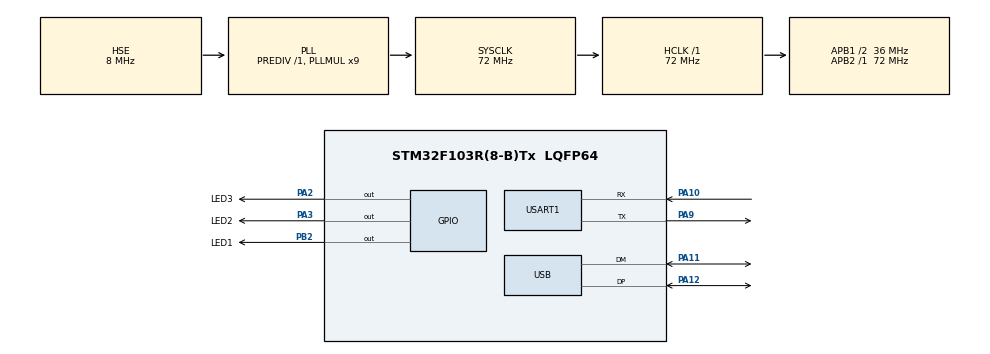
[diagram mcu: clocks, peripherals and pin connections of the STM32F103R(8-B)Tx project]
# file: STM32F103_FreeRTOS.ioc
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FREERTOS.Queues01=myQueue01,16,uint16_t,0,Dynamic,NULL,NULL;myQueue02,16,uint16_t,0,Dynamic,NULL,NULL
FREERTOS.Tasks01=defaultTask,24,128,StartDefaultTask,Default,NULL,Dynamic,NULL,NULL;myTask02_low,8,128,StartTask02,Default,NULL,Dynamic,NULL,NULL;myTask03_high,40,128,StartTask03,Default,NULL,Dynamic,NULL,NULL;myTask04_realti,48,256,StartTask04,Default,NULL,Dynamic,NULL,NULL
FREERTOS.configTICK_RATE_HZ=100
FREERTOS.configTOTAL_HEAP_SIZE=4096
FREERTOS.configUSE_TICKLESS_IDLE=1
Mcu.Family=STM32F1
Mcu.Name=STM32F103R(8-B)Tx
Mcu.Package=LQFP64
NVIC.PriorityGroup=NVIC_PRIORITYGROUP_4
NVIC.TIM1_UP_IRQn=true\:0\:0\:false\:false\:true\:false\:false\:true
NVIC.TimeBase=TIM1_UP_IRQn
NVIC.TimeBaseIP=TIM1
NVIC.USART1_IRQn=true\:5\:0\:false\:false\:true\:true\:true\:true
PA10.Mode=Asynchronous
PA10.Signal=USART1_RX
PA11.Mode=Device
PA11.Signal=USB_DM
PA12.Mode=Device
PA12.Signal=USB_DP
PA2.GPIO_Label=LED3
PA2.PinState=GPIO_PIN_SET
PA2.Signal=GPIO_Output
PA3.GPIO_Label=LED2
PA3.PinState=GPIO_PIN_SET
PA3.Signal=GPIO_Output
PA9.Mode=Asynchronous
PA9.Signal=USART1_TX
PB2.GPIO_Label=LED1
PB2.PinState=GPIO_PIN_SET
PB2.Signal=GPIO_Output
PD0-OSC_IN.Mode=HSE-External-Oscillator
PD0-OSC_IN.Signal=RCC_OSC_IN
PD1-OSC_OUT.Mode=HSE-External-Oscillator
PD1-OSC_OUT.Signal=RCC_OSC_OUT
ProjectManager.HeapSize=0x200
ProjectManager.StackSize=0x400
ProjectManager.TargetToolchain=Makefile
RCC.AHBFreq_Value=72000000
RCC.APB1CLKDivider=RCC_HCLK_DIV2
RCC.APB1Freq_Value=36000000
RCC.APB1TimFreq_Value=72000000
RCC.APB2Freq_Value=72000000
RCC.APB2TimFreq_Value=72000000
RCC.HCLKFreq_Value=72000000
RCC.PLLMUL=RCC_PLL_MUL9
RCC.PLLSourceVirtual=RCC_PLLSOURCE_HSE
RCC.SYSCLKFreq_VALUE=72000000
RCC.SYSCLKSource=RCC_SYSCLKSOURCE_PLLCLK
RCC.USBFreq_Value=48000000
RCC.USBPrescaler=RCC_USBCLKSOURCE_PLL_DIV1_5
USART1.VirtualMode=VM_ASYNC
VP_FREERTOS_VS_CMSIS_V2.Mode=CMSIS_V2
VP_SYS_VS_ND.Mode=No_Debug
VP_SYS_VS_tim1.Mode=TIM1
board=custom

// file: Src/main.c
/* USER CODE BEGIN Header */
/**
  ******************************************************************************
  * @file           : main.c
  * @brief          : Main program body
  ******************************************************************************
  * @attention
  *
  * <h2><center>&copy; Copyright (c) 2020 STMicroelectronics.
  * All rights reserved.</center></h2>
  *
  * This software component is licensed by ST under Ultimate Liberty license
  * SLA0044, the "License"; You may not use this file except in compliance with
  * the License. You may obtain a copy of the License at:
  *                             www.st.com/SLA0044
  *
  ******************************************************************************
  */
/* USER CODE END Header */

#include "main.h"
#include "cmsis_os.h"

/* USER CODE BEGIN Includes */
#include <stdio.h>
#include <stdlib.h>
#include "task.h"
#include "portmacro.h"
#include "ili9320.h"
#include "uart.h"
/* USER CODE END Includes */

UART_HandleTypeDef huart1;

PCD_HandleTypeDef hpcd_USB_FS;

osThreadId_t defaultTaskHandle;
osThreadId_t myTask02_lowHandle;
osThreadId_t myTask03_highHandle;
osThreadId_t myTask04_realtiHandle;
osMessageQueueId_t myQueue01Handle;
osMessageQueueId_t myQueue02Handle;

void SystemClock_Config(void);
static void MX_GPIO_Init(void);
static void MX_USART1_UART_Init(void);
static void MX_USB_PCD_Init(void);
void StartDefaultTask(void *argument);
void StartTask02(void *argument);
void StartTask03(void *argument);
void StartTask04(void *argument);

/* USER CODE BEGIN PFP */
int _write(int fd, char *ptr, int len)
{
    int i = 0;
    /*
     * write "len" of char from "ptr" to file id "fd"
     * Return number of char written.
     *
    * Only work for STDOUT, STDIN, and STDERR
     */
    if (fd > 2) { return -1; }

    HAL_UART_Transmit(&huart1, *ptr, 1000, 1000);
    //while (*ptr && (i < len))
    {
      // USART_SendData(USART1, *ptr);
      // while (USART_GetFlagStatus(USART1, USART_FLAG_TC)  == RESET) {}
      //     i++;
      //     ptr++;
      //
    }
    return i;
}
/* USER CODE END PFP */

int main(void)
{

  /* MCU Configuration--------------------------------------------------------*/

  /* Reset of all peripherals, Initializes the Flash interface and the Systick. */
  HAL_Init();

  /* Configure the system clock */
  SystemClock_Config();

  /* Initialize all configured peripherals */
  MX_GPIO_Init();
  MX_USART1_UART_Init();
  MX_USB_PCD_Init();
  /* USER CODE BEGIN 2 */
  printf("Printf test.");

  ili9320_Initializtion();
  // LED1_GPIO_Port->BRR = LED1_Pin;     // Clear
  // for (uint16_t i = 0; i < 5000; i++) ;
  // LED1_GPIO_Port->BSRR = LED1_Pin;    // set
  // for (uint16_t i = 0; i < 5000; i++) ;
  // LED1_GPIO_Port->BRR = LED1_Pin;     // Clear
	ili9320_Clear(Blue);        // ~ 50 ms
  // LED1_GPIO_Port->BSRR = LED1_Pin;    // set
  // for (uint16_t i = 0; i < 5000; i++) ;
  // LED1_GPIO_Port->BRR = LED1_Pin;     // Clear
  // for (uint16_t i = 0; i < 5000; i++) ;
  // LED1_GPIO_Port->BSRR = LED1_Pin;    // set

	ili9320_ShowString_16x24(10, 10, 320, 240, "ili9320 LCD DISPLAY 16x24.");
	ili9320_ShowString_8x16(10, 80, 320, 240, "ili9320 LCD DISPLAY 8 x 16.");
	ili9320_ShowString_16x24(20, 120, 320, 240, "Loop-");
  /* USER CODE END 2 */

  osKernelInitialize();

  /* Create the queue(s) */
  /* definition and creation of myQueue01 */
  const osMessageQueueAttr_t myQueue01_attributes = {
    .name = "myQueue01"
  };
  myQueue01Handle = osMessageQueueNew (16, sizeof(uint16_t), &myQueue01_attributes);

  /* definition and creation of myQueue02 */
  const osMessageQueueAttr_t myQueue02_attributes = {
    .name = "myQueue02"
  };
  myQueue02Handle = osMessageQueueNew (16, sizeof(uint16_t), &myQueue02_attributes);

  /* Create the thread(s) */
  /* definition and creation of defaultTask */
  const osThreadAttr_t defaultTask_attributes = {
    .name = "defaultTask",
    .priority = (osPriority_t) osPriorityNormal,
    .stack_size = 128
  };
  defaultTaskHandle = osThreadNew(StartDefaultTask, NULL, &defaultTask_attributes);

  /* definition and creation of myTask02_low */
  const osThreadAttr_t myTask02_low_attributes = {
    .name = "myTask02_low",
    .priority = (osPriority_t) osPriorityLow,
    .stack_size = 128
  };
  myTask02_lowHandle = osThreadNew(StartTask02, NULL, &myTask02_low_attributes);

  /* definition and creation of myTask03_high */
  const osThreadAttr_t myTask03_high_attributes = {
    .name = "myTask03_high",
    .priority = (osPriority_t) osPriorityHigh,
    .stack_size = 128
  };
  myTask03_highHandle = osThreadNew(StartTask03, NULL, &myTask03_high_attributes);

  /* definition and creation of myTask04_realti */
  const osThreadAttr_t myTask04_realti_attributes = {
    .name = "myTask04_realti",
    .priority = (osPriority_t) osPriorityRealtime,
    .stack_size = 256
  };
  myTask04_realtiHandle = osThreadNew(StartTask04, NULL, &myTask04_realti_attributes);

  /* Start scheduler */
  osKernelStart();

  /* We should never get here as control is now taken by the scheduler */

  /* Infinite loop */
  while (1)
  {

  }
}

void SystemClock_Config(void)
{
  RCC_OscInitTypeDef RCC_OscInitStruct = {0};
  RCC_ClkInitTypeDef RCC_ClkInitStruct = {0};
  RCC_PeriphCLKInitTypeDef PeriphClkInit = {0};

  /** Initializes the CPU, AHB and APB busses clocks
  */
  RCC_OscInitStruct.OscillatorType = RCC_OSCILLATORTYPE_HSE;
  RCC_OscInitStruct.HSEState = RCC_HSE_ON;
  RCC_OscInitStruct.HSEPredivValue = RCC_HSE_PREDIV_DIV1;
  RCC_OscInitStruct.HSIState = RCC_HSI_ON;
  RCC_OscInitStruct.PLL.PLLState = RCC_PLL_ON;
  RCC_OscInitStruct.PLL.PLLSource = RCC_PLLSOURCE_HSE;
  RCC_OscInitStruct.PLL.PLLMUL = RCC_PLL_MUL9;
  if (HAL_RCC_OscConfig(&RCC_OscInitStruct) != HAL_OK)
  {
    Error_Handler();
  }
  /** Initializes the CPU, AHB and APB busses clocks
  */
  RCC_ClkInitStruct.ClockType = RCC_CLOCKTYPE_HCLK|RCC_CLOCKTYPE_SYSCLK
                              |RCC_CLOCKTYPE_PCLK1|RCC_CLOCKTYPE_PCLK2;
  RCC_ClkInitStruct.SYSCLKSource = RCC_SYSCLKSOURCE_PLLCLK;
  RCC_ClkInitStruct.AHBCLKDivider = RCC_SYSCLK_DIV1;
  RCC_ClkInitStruct.APB1CLKDivider = RCC_HCLK_DIV2;
  RCC_ClkInitStruct.APB2CLKDivider = RCC_HCLK_DIV1;

  if (HAL_RCC_ClockConfig(&RCC_ClkInitStruct, FLASH_LATENCY_2) != HAL_OK)
  {
    Error_Handler();
  }
  PeriphClkInit.PeriphClockSelection = RCC_PERIPHCLK_USB;
  PeriphClkInit.UsbClockSelection = RCC_USBCLKSOURCE_PLL_DIV1_5;
  if (HAL_RCCEx_PeriphCLKConfig(&PeriphClkInit) != HAL_OK)
  {
    Error_Handler();
  }
}

static void MX_USART1_UART_Init(void)
{

  huart1.Instance = USART1;
  huart1.Init.BaudRate = 115200;
  huart1.Init.WordLength = UART_WORDLENGTH_8B;
  huart1.Init.StopBits = UART_STOPBITS_1;
  huart1.Init.Parity = UART_PARITY_NONE;
  huart1.Init.Mode = UART_MODE_TX_RX;
  huart1.Init.HwFlowCtl = UART_HWCONTROL_NONE;
  huart1.Init.OverSampling = UART_OVERSAMPLING_16;
  if (HAL_UART_Init(&huart1) != HAL_OK)
  {
    Error_Handler();
  }
  /* USER CODE BEGIN USART1_Init 2 */
  HAL_UART_Receive_IT(&huart1, (uint8_t *)aRxBuffer, RXBUFFERSIZE); //
  /* USER CODE END USART1_Init 2 */

}

static void MX_USB_PCD_Init(void)
{

  hpcd_USB_FS.Instance = USB;
  hpcd_USB_FS.Init.dev_endpoints = 8;
  hpcd_USB_FS.Init.speed = PCD_SPEED_FULL;
  hpcd_USB_FS.Init.low_power_enable = DISABLE;
  hpcd_USB_FS.Init.lpm_enable = DISABLE;
  hpcd_USB_FS.Init.battery_charging_enable = DISABLE;
  if (HAL_PCD_Init(&hpcd_USB_FS) != HAL_OK)
  {
    Error_Handler();
  }

}

static void MX_GPIO_Init(void)
{
  GPIO_InitTypeDef GPIO_InitStruct = {0};

  /* GPIO Ports Clock Enable */
  __HAL_RCC_GPIOD_CLK_ENABLE();
  __HAL_RCC_GPIOA_CLK_ENABLE();
  __HAL_RCC_GPIOB_CLK_ENABLE();

  /*Configure GPIO pin Output Level */
  HAL_GPIO_WritePin(GPIOA, LED3_Pin|LED2_Pin, GPIO_PIN_SET);

  /*Configure GPIO pin Output Level */
  HAL_GPIO_WritePin(LED1_GPIO_Port, LED1_Pin, GPIO_PIN_SET);

  /*Configure GPIO pins : LED3_Pin LED2_Pin */
  GPIO_InitStruct.Pin = LED3_Pin|LED2_Pin;
  GPIO_InitStruct.Mode = GPIO_MODE_OUTPUT_PP;
  GPIO_InitStruct.Pull = GPIO_NOPULL;
  GPIO_InitStruct.Speed = GPIO_SPEED_FREQ_LOW;
  HAL_GPIO_Init(GPIOA, &GPIO_InitStruct);

  /*Configure GPIO pin : LED1_Pin */
  GPIO_InitStruct.Pin = LED1_Pin;
  GPIO_InitStruct.Mode = GPIO_MODE_OUTPUT_PP;
  GPIO_InitStruct.Pull = GPIO_NOPULL;
  GPIO_InitStruct.Speed = GPIO_SPEED_FREQ_LOW;
  HAL_GPIO_Init(LED1_GPIO_Port, &GPIO_InitStruct);

}

void StartDefaultTask(void *argument)
{
  /* USER CODE BEGIN 5 */
  /* Infinite loop */
  for(;;)
  {
    //osDelay(1);
    ulTaskNotifyTake(pdTRUE, portMAX_DELAY);
    HAL_UART_Transmit(&huart1, "Task01-default is running ...\r\n", 31, 1000);
    HAL_GPIO_TogglePin(LED1_GPIO_Port, LED1_Pin);
    //osDelay(1);
    xTaskNotifyGive(myTask02_lowHandle);
  }
  /* USER CODE END 5 */
}

void StartTask02(void *argument)
{
  /* USER CODE BEGIN StartTask02 */
  /* Infinite loop */
  for(;;)
  {
    //osDelay(1);
    ulTaskNotifyTake(pdTRUE, portMAX_DELAY);
    HAL_UART_Transmit(&huart1, "Task02 is running ...\r\n", 23, 1000);
    HAL_GPIO_TogglePin(LED2_GPIO_Port, LED2_Pin);
    //HAL_GPIO_WritePin(LED2_GPIO_Port, LED2_Pin, GPIO_PIN_SET);
    //osDelay(110);
    //HAL_GPIO_WritePin(LED2_GPIO_Port, LED2_Pin, GPIO_PIN_RESET);
    //osDelay(1);
    HAL_UART_Transmit(&huart1, "Task02 give notify to Task03 ...\r\n", 55, 1000);
    xTaskNotifyGive(myTask03_highHandle);

  }
  /* USER CODE END StartTask02 */
}

void StartTask03(void *argument)
{
  /* USER CODE BEGIN StartTask03 */
  /* Infinite loop */
  for(;;)
  {
    //osDelay(1);
    ulTaskNotifyTake(pdTRUE, portMAX_DELAY);
    HAL_UART_Transmit(&huart1, "Task03 is running ...\r\n", 23, 1000);
    HAL_GPIO_TogglePin(LED3_GPIO_Port, LED3_Pin);
    //osDelay(1);
    HAL_UART_Transmit(&huart1, "Task03 give notify to Task04 .\r\n", 55, 1000);
    xTaskNotifyGive(myTask04_realtiHandle);
  }
  /* USER CODE END StartTask03 */
}

void StartTask04(void *argument)
{
  /* USER CODE BEGIN StartTask04 */
  //static uint8_t *pdata = "HAL_UART_Transmit";
  uint16_t i = 50000;
  //uint16_t xpos = 0;
  char loop[] = "000.00\0";
  //uint8_t tickDelay = 1;
  //char delay[] = "00\r\n";

  /* Infinite loop */
  for(;;)
  {
    osDelay(1);

    if(USART_RX_STA & 0x8000)
		{
			uint16_t len = USART_RX_STA & 0x3fff; // Rx len
			HAL_UART_Transmit(&huart1, "\r\n您发送的消息为: \r\n", 200, 1000);
			HAL_UART_Transmit(&huart1, (uint8_t*)USART_RX_BUF, len, 1000);	//发送接收到的数据
			HAL_UART_Transmit(&huart1, "\r\n", 20, 1000);
			USART_RX_STA=0;
		}

    //portTICK_TYPE_ENTER_CRITICAL();
    {
      //if (--tickDelay == 0) tickDelay = 9;
      //delay[1] = '0' + tickDelay;
      //HAL_UART_Transmit(&huart1, delay, 17, 1000);

      if (i % 50 == 0)
      {
        HAL_UART_Transmit(&huart1, "Task04 is running ...\r\n", 23, 1000);
      }

      i++;
      loop[0] = '0' + (i / 10000);
      loop[1] = '0' + ((i % 10000) / 1000);
      loop[2] = '0' + ((i % 1000) / 100);
      loop[4] = '0' + ((i % 100) / 10);
      loop[5] = '0' + (i % 10);
      //USART1_printf(loop);
      //USART1_printf("\r\n");

      ili9320_ShowString_8x16(100, 124, 320, 240, loop);
      // ili9320_PutChar(140, 124, loop[5], Red, Blue);
      // if (i % 10 == 0)
      // {
      //   ili9320_PutChar(132, 124, loop[4], Red, Blue);
      //   if (i % 100 == 0)
      //   {
      //     ili9320_PutChar(124, 124, loop[3], Red, Blue);
      //     ili9320_PutChar(116, 124, loop[2], Red, Blue);
      //   }
      //   if (i % 1000 == 0)
      //   {
      //     ili9320_PutChar(108, 124, loop[1], Red, Blue);
      //   }
      //   if (i % 10000 == 0)
      //   {
      //     ili9320_PutChar(100, 124, loop[0], Red, Blue);
      //   }
      // }
    }

    if (i % 100 == 0)
    {
        xTaskNotifyGive(defaultTaskHandle);
        ulTaskNotifyTake(pdTRUE, portMAX_DELAY);
    }

    //portTICK_TYPE_EXIT_CRITICAL();

    //ili9320_PutChar(100+ (xpos * 8), 124, loop[xpos], Red, Blue);
    //if (++xpos > 5) xpos = 0;
		//ili9320_ShowString_8x16(100, 124, 320, 240, loop);
  }
  /* USER CODE END StartTask04 */
}

void HAL_TIM_PeriodElapsedCallback(TIM_HandleTypeDef *htim)
{
  if (htim->Instance == TIM1) {
    HAL_IncTick();
  }
}

void Error_Handler(void)
{
}

/************************ (C) COPYRIGHT STMicroelectronics *****END OF FILE****/
